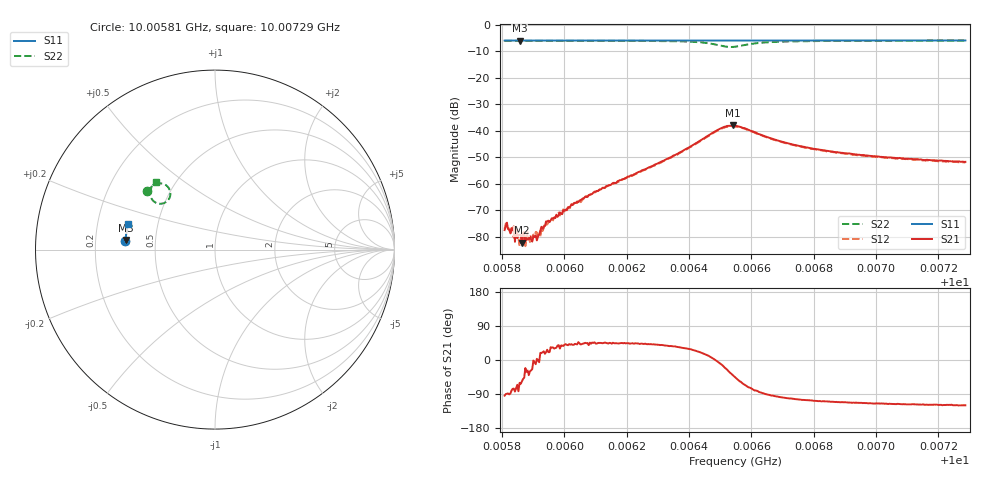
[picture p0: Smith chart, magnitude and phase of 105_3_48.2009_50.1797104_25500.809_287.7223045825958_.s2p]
#  HZ  S  RI  R  50.00
! Rohde & Schwarz Vector Network Analyzer
! Rohde-Schwarz,ZNB20-2Port,1311601062101988,3.16
! Created: UTC 3/20/2024, 11:40:46 AM
! freq[Hz]  re:S11  im:S11  re:S21  im:S21  re:S12  im:S12  re:S22  im:S22
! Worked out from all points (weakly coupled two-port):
!   401 points, 10.00581 GHz to 10.00729 GHz, reference 50 ohm
!   highest |S21| = -37.93 dB at 10.00654 GHz (marker M1); lowest = -82.2 dB at 10.00586 GHz (marker M2)
!   lowest |S11| = -6.0 dB at 10.00586 GHz (marker M3), VSWR 3.01, Z = 16.7 + j2.37 ohm
!   |S11| at or under -10 dB: nowhere
!   |S22| runs from -8.4 to -6.0 dB; largest |S21 - S12| = 0.00089
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1.0005808e10  -0.4987 0.0501  -9.82e-06 -0.000134  1.97e-05 -0.00014  -0.3763 0.3261
1.000582e10  -0.4986 0.051  4.3e-06 -0.000141  1.2e-05 -0.000153  -0.3757 0.3267
1.0005831e10  -0.4985 0.0516  2.36e-05 -0.000145  5.87e-05 -0.000103  -0.3751 0.3274
1.0005838e10  -0.4985 0.0521  3.99e-05 -0.000153  3.41e-05 -9.07e-05  -0.3746 0.3277
1.0005856e10  -0.4983 0.0532  5.42e-05 -9.45e-05  3.2e-05 -5.87e-05  -0.3737 0.3289
1.0005864e10  -0.4985 0.0536  4.26e-05 -6.48e-05  5.97e-05 -9.56e-05  -0.3733 0.3293
1.0005882e10  -0.4984 0.0549  7.9e-05 -4.16e-05  0.000117 -3.85e-05  -0.3722 0.3307
1.0005912e10  -0.4982 0.057  8.58e-05 4.58e-06  0.000116 3.15e-05  -0.3707 0.3326
1.0005923e10  -0.498 0.0576  0.000125 4.24e-05  8.73e-05 4.9e-05  -0.37 0.3334
1.0005934e10  -0.4981 0.0583  0.000146 6.16e-05  0.00014 4.53e-05  -0.3693 0.3341
1.0005949e10  -0.4979 0.0594  0.000189 7.16e-05  0.000157 0.000104  -0.3685 0.3351
1.0005997e10  -0.4977 0.0625  0.000252 0.000191  0.000262 0.000201  -0.3656 0.3382
1.0006056e10  -0.4973 0.0663  0.00038 0.000345  0.000325 0.000352  -0.3615 0.3424
1.0006108e10  -0.4969 0.0696  0.000518 0.000517  0.000495 0.000538  -0.3575 0.3462
1.0006304e10  -0.4953 0.0824  0.00192 0.00161  0.00179 0.00163  -0.3336 0.3628
1.0006496e10  -0.4925 0.0946  0.0106 -0.00131  0.0104 -0.000747  -0.2498 0.325
1.000654e10  -0.492 0.0967  0.00976 -0.00811  0.00988 -0.00728  -0.2724 0.2655
1.0006547e10  -0.492 0.097  0.00875 -0.00886  0.00897 -0.00816  -0.2825 0.2599
1.0006629e10  -0.4919 0.1021  0.000689 -0.00847  0.00105 -0.00825  -0.3545 0.2851
1.0006795e10  -0.4903 0.1129  -0.00134 -0.00443  -0.00113 -0.0044  -0.3572 0.3358
1.0007042e10  -0.4871 0.1288  -0.00134 -0.00283  -0.0012 -0.00282  -0.342 0.362
1.0007286e10  -0.4831 0.1439  -0.00128 -0.00226  -0.00113 -0.00222  -0.3283 0.3779
